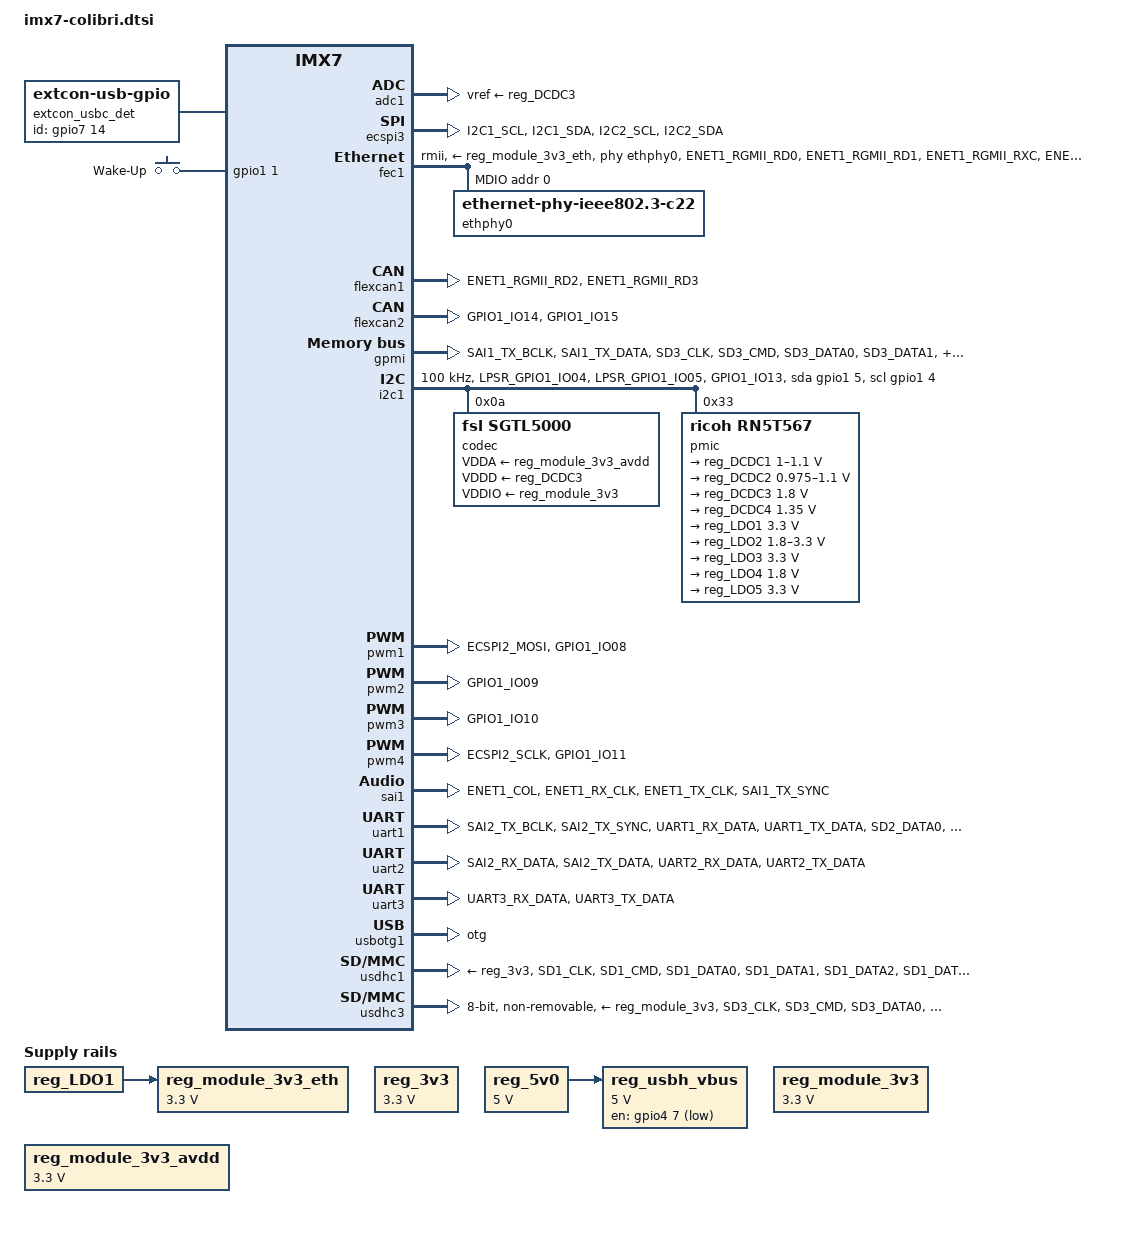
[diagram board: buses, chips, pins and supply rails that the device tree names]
// SPDX-License-Identifier: GPL-2.0-or-later OR MIT
/*
 * Copyright 2016-2022 Toradex
 */

#include <dt-bindings/pwm/pwm.h>

/ {
	aliases {
		rtc0 = &rtc;
		rtc1 = &snvs_rtc;
	};

	backlight: backlight {
		brightness-levels = <0 45 63 88 119 158 203 255>;
		compatible = "pwm-backlight";
		default-brightness-level = <4>;
		enable-gpios = <&gpio5 1 GPIO_ACTIVE_HIGH>;
		pinctrl-names = "default";
		pinctrl-0 = <&pinctrl_gpio_bl_on>;
		power-supply = <&reg_module_3v3>;
		pwms = <&pwm1 0 6666667 PWM_POLARITY_INVERTED>;
		status = "disabled";
	};

	chosen {
		stdout-path = "serial0:115200n8";
	};

	extcon_usbc_det: usbc-det {
		compatible = "linux,extcon-usb-gpio";
		debounce = <25>;
		id-gpio = <&gpio7 14 GPIO_ACTIVE_HIGH>; /* SODIMM 137 / USBC_DET */
		pinctrl-names = "default";
		pinctrl-0 = <&pinctrl_usbc_det>;
	};

	gpio-keys {
		compatible = "gpio-keys";
		pinctrl-names = "default";
		pinctrl-0 = <&pinctrl_gpiokeys>;

		wakeup {
			debounce-interval = <10>;
			gpios = <&gpio1 1 (GPIO_ACTIVE_HIGH | GPIO_PULL_DOWN)>; /* SODIMM 45 */
			label = "Wake-Up";
			linux,code = <KEY_WAKEUP>;
			wakeup-source;
		};
	};

	panel_dpi: panel-dpi {
		backlight = <&backlight>;
		compatible = "edt,et057090dhu";
		power-supply = <&reg_3v3>;
		status = "disabled";

		port {
			lcd_panel_in: endpoint {
				remote-endpoint = <&lcdif_out>;
			};
		};
	};

	reg_3v3: regulator-3v3 {
		compatible = "regulator-fixed";
		regulator-always-on;
		regulator-max-microvolt = <3300000>;
		regulator-min-microvolt = <3300000>;
		regulator-name = "3.3V";
	};

	reg_5v0: regulator-5v0 {
		compatible = "regulator-fixed";
		regulator-always-on;
		regulator-max-microvolt = <5000000>;
		regulator-min-microvolt = <5000000>;
		regulator-name = "5V";
	};

	reg_module_3v3: regulator-module-3v3 {
		compatible = "regulator-fixed";
		regulator-always-on;
		regulator-max-microvolt = <3300000>;
		regulator-min-microvolt = <3300000>;
		regulator-name = "+V3.3";
	};

	reg_module_3v3_avdd: regulator-module-3v3-avdd {
		compatible = "regulator-fixed";
		regulator-always-on;
		regulator-max-microvolt = <3300000>;
		regulator-min-microvolt = <3300000>;
		regulator-name = "+V3.3_AVDD_AUDIO";
	};

	reg_module_3v3_eth: regulator-module-3v3-eth {
		compatible = "regulator-fixed";
		off-on-delay-us = <200000>;
		regulator-name = "+V3.3_ETH";
		regulator-min-microvolt = <3300000>;
		regulator-max-microvolt = <3300000>;
		regulator-boot-on;
		startup-delay-us = <200000>;
		vin-supply = <&reg_LDO1>;
	};

	reg_usbh_vbus: regulator-usbh-vbus {
		compatible = "regulator-fixed";
		gpio = <&gpio4 7 GPIO_ACTIVE_LOW>; /* SODIMM 129 / USBH_PEN */
		pinctrl-names = "default";
		pinctrl-0 = <&pinctrl_usbh_reg>;
		regulator-max-microvolt = <5000000>;
		regulator-min-microvolt = <5000000>;
		regulator-name = "VCC_USB[1-4]";
		vin-supply = <&reg_5v0>;
	};

	sound {
		compatible = "simple-audio-card";
		simple-audio-card,bitclock-master = <&dailink_master>;
		simple-audio-card,format = "i2s";
		simple-audio-card,frame-master = <&dailink_master>;
		simple-audio-card,name = "imx7-sgtl5000";

		simple-audio-card,cpu {
			sound-dai = <&sai1>;
		};

		dailink_master: simple-audio-card,codec {
			clocks = <&clks IMX7D_AUDIO_MCLK_ROOT_DIV>;
			sound-dai = <&codec>;
		};
	};
};

/* Colibri AD0 to AD3 */
&adc1 {
	vref-supply = <&reg_DCDC3>;
};

/* ADC2 is not available as it conflicts with AD7879 resistive touchscreen. */

&cpu0 {
	cpu-supply = <&reg_DCDC2>;
};

/* Colibri SSP */
&ecspi3 {
	cs-gpios = <&gpio4 11 GPIO_ACTIVE_LOW>; /* SODIMM 86 / SSPFRM */
	pinctrl-names = "default";
	pinctrl-0 = <&pinctrl_ecspi3 &pinctrl_ecspi3_cs>;
};

/* Colibri Fast Ethernet */
&fec1 {
	assigned-clock-parents = <&clks IMX7D_PLL_ENET_MAIN_100M_CLK>;
	assigned-clock-rates = <0>, <100000000>;
	assigned-clocks = <&clks IMX7D_ENET1_TIME_ROOT_SRC>,
			  <&clks IMX7D_ENET1_TIME_ROOT_CLK>;
	clock-names = "ipg", "ahb", "ptp", "enet_clk_ref";
	clocks = <&clks IMX7D_ENET_AXI_ROOT_CLK>,
		 <&clks IMX7D_ENET_AXI_ROOT_CLK>,
		 <&clks IMX7D_ENET1_TIME_ROOT_CLK>,
		 <&clks IMX7D_PLL_ENET_MAIN_50M_CLK>;
	fsl,magic-packet;
	phy-handle = <&ethphy0>;
	phy-mode = "rmii";
	phy-supply = <&reg_module_3v3_eth>;
	pinctrl-names = "default", "sleep";
	pinctrl-0 = <&pinctrl_enet1>;
	pinctrl-1 = <&pinctrl_enet1_sleep>;

	mdio {
		#address-cells = <1>;
		#size-cells = <0>;

		/* Micrel KSZ8041RNL */
		ethphy0: ethernet-phy@0 {
			compatible = "ethernet-phy-ieee802.3-c22";
			max-speed = <100>;
			micrel,led-mode = <0>;
			reg = <0>;
		};
	};
};

&flexcan1 {
	pinctrl-names = "default";
	pinctrl-0 = <&pinctrl_flexcan1>;
};

&flexcan2 {
	pinctrl-names = "default";
	pinctrl-0 = <&pinctrl_flexcan2>;
};

&gpio1 {
	gpio-line-names = "SODIMM_43",
			  "SODIMM_45",
			  "SODIMM_135",
			  "SODIMM_22",
			  "",
			  "",
			  "SODIMM_37",
			  "SODIMM_29",
			  "SODIMM_59",
			  "SODIMM_28",
			  "SODIMM_30",
			  "SODIMM_67",
			  "",
			  "",
			  "SODIMM_188",
			  "SODIMM_178";
};

&gpio2 {
	gpio-line-names = "SODIMM_111",
			  "SODIMM_113",
			  "SODIMM_115",
			  "SODIMM_117",
			  "SODIMM_119",
			  "SODIMM_121",
			  "SODIMM_123",
			  "SODIMM_125",
			  "SODIMM_91",
			  "SODIMM_89",
			  "SODIMM_105",
			  "SODIMM_152",
			  "SODIMM_150",
			  "SODIMM_95",
			  "SODIMM_126",
			  "SODIMM_107",
			  "SODIMM_114",
			  "SODIMM_116",
			  "SODIMM_118",
			  "SODIMM_120",
			  "SODIMM_122",
			  "SODIMM_124",
			  "SODIMM_127",
			  "SODIMM_130",
			  "SODIMM_132",
			  "SODIMM_134",
			  "SODIMM_133",
			  "SODIMM_104",
			  "SODIMM_106",
			  "SODIMM_110",
			  "SODIMM_112",
			  "SODIMM_128";
};

&gpio3 {
	gpio-line-names = "SODIMM_56",
			  "SODIMM_44",
			  "SODIMM_68",
			  "SODIMM_82",
			  "SODIMM_93",
			  "SODIMM_76",
			  "SODIMM_70",
			  "SODIMM_60",
			  "SODIMM_58",
			  "SODIMM_78",
			  "SODIMM_72",
			  "SODIMM_80",
			  "SODIMM_46",
			  "SODIMM_62",
			  "SODIMM_48",
			  "SODIMM_74",
			  "SODIMM_50",
			  "SODIMM_52",
			  "SODIMM_54",
			  "SODIMM_66",
			  "SODIMM_64",
			  "SODIMM_57",
			  "SODIMM_61",
			  "SODIMM_136",
			  "SODIMM_138",
			  "SODIMM_140",
			  "SODIMM_142",
			  "SODIMM_144",
			  "SODIMM_146";
};

&gpio4 {
	gpio-line-names = "SODIMM_35",
			  "SODIMM_33",
			  "SODIMM_38",
			  "SODIMM_36",
			  "SODIMM_21",
			  "SODIMM_19",
			  "SODIMM_131",
			  "SODIMM_129",
			  "SODIMM_90",
			  "SODIMM_92",
			  "SODIMM_88",
			  "SODIMM_86",
			  "SODIMM_81",
			  "SODIMM_94",
			  "SODIMM_96",
			  "SODIMM_75",
			  "SODIMM_101",
			  "SODIMM_103",
			  "SODIMM_79",
			  "SODIMM_97",
			  "SODIMM_67",
			  "SODIMM_59",
			  "SODIMM_85",
			  "SODIMM_65";
};

&gpio5 {
	gpio-line-names = "SODIMM_69",
			  "SODIMM_71",
			  "SODIMM_73",
			  "SODIMM_47",
			  "SODIMM_190",
			  "SODIMM_192",
			  "SODIMM_49",
			  "SODIMM_51",
			  "SODIMM_53",
			  "",
			  "",
			  "SODIMM_98",
			  "SODIMM_184",
			  "SODIMM_186",
			  "SODIMM_23",
			  "SODIMM_31",
			  "SODIMM_100",
			  "SODIMM_102";
};

&gpio6 {
	gpio-line-names = "",
			  "",
			  "",
			  "",
			  "",
			  "",
			  "",
			  "",
			  "",
			  "",
			  "",
			  "",
			  "SODIMM_169",
			  "",
			  "",
			  "",
			  "SODIMM_77",
			  "SODIMM_24",
			  "",
			  "SODIMM_25",
			  "SODIMM_27",
			  "SODIMM_32",
			  "SODIMM_34";
};

&gpio7 {
	gpio-line-names = "",
			  "",
			  "SODIMM_63",
			  "SODIMM_55",
			  "",
			  "",
			  "",
			  "",
			  "SODIMM_196",
			  "SODIMM_194",
			  "",
			  "SODIMM_99",
			  "",
			  "",
			  "SODIMM_137";
};

/* NAND on such SKUs */
&gpmi {
	fsl,use-minimum-ecc;
	nand-ecc-mode = "hw";
	nand-on-flash-bbt;
	pinctrl-names = "default";
	pinctrl-0 = <&pinctrl_gpmi_nand>;
};

/* On-module Power I2C */
&i2c1 {
	clock-frequency = <100000>;
	pinctrl-names = "default", "gpio";
	pinctrl-0 = <&pinctrl_i2c1 &pinctrl_i2c1_int>;
	pinctrl-1 = <&pinctrl_i2c1_recovery &pinctrl_i2c1_int>;
	scl-gpios = <&gpio1 4 (GPIO_ACTIVE_HIGH | GPIO_OPEN_DRAIN)>;
	sda-gpios = <&gpio1 5 (GPIO_ACTIVE_HIGH | GPIO_OPEN_DRAIN)>;
	status = "okay";

	codec: sgtl5000@a {
		#sound-dai-cells = <0>;
		clocks = <&clks IMX7D_AUDIO_MCLK_ROOT_DIV>;
		compatible = "fsl,sgtl5000";
		pinctrl-names = "default";
		pinctrl-0 = <&pinctrl_sai1_mclk>;
		reg = <0xa>;
		VDDA-supply = <&reg_module_3v3_avdd>;
		VDDD-supply = <&reg_DCDC3>;
		VDDIO-supply = <&reg_module_3v3>;
	};

	ad7879_ts: touchscreen@2c {
		adi,acquisition-time = /bits/ 8 <1>;
		adi,averaging = /bits/ 8 <1>;
		adi,conversion-interval = /bits/ 8 <255>;
		adi,first-conversion-delay = /bits/ 8 <3>;
		adi,median-filter-size = /bits/ 8 <2>;
		adi,resistance-plate-x = <120>;
		compatible = "adi,ad7879-1";
		interrupt-parent = <&gpio1>;
		interrupts = <13 IRQ_TYPE_EDGE_FALLING>;
		reg = <0x2c>;
		touchscreen-max-pressure = <4096>;
		status = "disabled";
	};

	pmic@33 {
		compatible = "ricoh,rn5t567";
		reg = <0x33>;

		regulators {
			reg_DCDC1: DCDC1 {
				regulator-always-on;
				regulator-boot-on;
				regulator-max-microvolt = <1100000>;
				regulator-min-microvolt = <1000000>;
				regulator-name = "+V1.0_SOC";
			};

			reg_DCDC2: DCDC2 {
				regulator-always-on;
				regulator-boot-on;
				regulator-max-microvolt = <1100000>;
				regulator-min-microvolt = <975000>;
				regulator-name = "+V1.1_ARM";
			};

			reg_DCDC3: DCDC3 {
				regulator-always-on;
				regulator-boot-on;
				regulator-max-microvolt = <1800000>;
				regulator-min-microvolt = <1800000>;
				regulator-name = "+V1.8";
			};

			reg_DCDC4: DCDC4 {
				regulator-always-on;
				regulator-boot-on;
				regulator-max-microvolt = <1350000>;
				regulator-min-microvolt = <1350000>;
				regulator-name = "+V1.35_DRAM";
			};

			reg_LDO1: LDO1 {
				regulator-boot-on;
				regulator-max-microvolt = <3300000>;
				regulator-min-microvolt = <3300000>;
				regulator-name = "PWR_EN_+V3.3_ETH";
			};

			reg_LDO2: LDO2 {
				regulator-always-on;
				regulator-boot-on;
				regulator-max-microvolt = <3300000>;
				regulator-min-microvolt = <1800000>;
				regulator-name = "+V1.8_SD";
			};

			reg_LDO3: LDO3 {
				regulator-always-on;
				regulator-boot-on;
				regulator-max-microvolt = <3300000>;
				regulator-min-microvolt = <3300000>;
				regulator-name = "PWR_EN_+V3.3_LPSR";
			};

			reg_LDO4: LDO4 {
				regulator-always-on;
				regulator-boot-on;
				regulator-max-microvolt = <1800000>;
				regulator-min-microvolt = <1800000>;
				regulator-name = "+V1.8_LPSR";
			};

			reg_LDO5: LDO5 {
				regulator-always-on;
				regulator-boot-on;
				regulator-max-microvolt = <3300000>;
				regulator-min-microvolt = <3300000>;
				regulator-name = "PWR_EN_+V3.3";
			};
		};
	};
};

/* Colibri I2C: I2C3_SDA/SCL on SODIMM 194/196 */
&i2c4 {
	clock-frequency = <100000>;
	pinctrl-names = "default", "gpio";
	pinctrl-0 = <&pinctrl_i2c4>;
	pinctrl-1 = <&pinctrl_i2c4_recovery>;
	scl-gpios = <&gpio7 8 (GPIO_ACTIVE_HIGH | GPIO_OPEN_DRAIN)>;
	sda-gpios = <&gpio7 9 (GPIO_ACTIVE_HIGH | GPIO_OPEN_DRAIN)>;
	status = "disabled";

	/* Atmel maxtouch controller */
	atmel_mxt_ts: touchscreen@4a {
		compatible = "atmel,maxtouch";
		interrupt-parent = <&gpio2>;
		interrupts = <15 IRQ_TYPE_EDGE_FALLING>;        /* SODIMM 107 / INT */
		pinctrl-names = "default";
		pinctrl-0 = <&pinctrl_atmel_connector>;
		reg = <0x4a>;
		reset-gpios = <&gpio2 28 GPIO_ACTIVE_LOW>;      /* SODIMM 106 / RST */
		status = "disabled";
	};

	/* M41T0M6 real time clock on carrier board */
	rtc: rtc@68 {
		compatible = "st,m41t0";
		reg = <0x68>;
		status = "disabled";
	};
};

&lcdif {
	assigned-clocks = <&clks IMX7D_LCDIF_PIXEL_ROOT_SRC>;
	assigned-clock-parents = <&clks IMX7D_PLL_VIDEO_POST_DIV>;
	pinctrl-names = "default";
	pinctrl-0 = <&pinctrl_lcdif_dat
		     &pinctrl_lcdif_ctrl>;
	status = "disabled";

	port {
		lcdif_out: endpoint {
			remote-endpoint = <&lcd_panel_in>;
		};
	};
};

/* Colibri PWM<A> */
&pwm1 {
	pinctrl-names = "default";
	pinctrl-0 = <&pinctrl_pwm1>;
};

/* Colibri PWM<B> */
&pwm2 {
	pinctrl-names = "default";
	pinctrl-0 = <&pinctrl_pwm2>;
};

/* Colibri PWM<C> */
&pwm3 {
	pinctrl-names = "default";
	pinctrl-0 = <&pinctrl_pwm3>;
};

/* Colibri PWM<D> */
&pwm4 {
	pinctrl-names = "default";
	pinctrl-0 = <&pinctrl_pwm4>;
};

&reg_1p0d {
	vin-supply = <&reg_DCDC3>; /* VDDA_1P8_IN */
};

&sai1 {
	pinctrl-names = "default";
	pinctrl-0 = <&pinctrl_sai1>;
	status = "okay";
};

/* Colibri UART_A */
&uart1 {
	assigned-clocks = <&clks IMX7D_UART1_ROOT_SRC>;
	assigned-clock-parents = <&clks IMX7D_OSC_24M_CLK>;
	fsl,dte-mode;
	pinctrl-names = "default";
	pinctrl-0 = <&pinctrl_uart1 &pinctrl_uart1_ctrl1 &pinctrl_uart1_ctrl2>;
	uart-has-rtscts;
};

/* Colibri UART_B */
&uart2 {
	assigned-clocks = <&clks IMX7D_UART2_ROOT_SRC>;
	assigned-clock-parents = <&clks IMX7D_OSC_24M_CLK>;
	fsl,dte-mode;
	pinctrl-names = "default";
	pinctrl-0 = <&pinctrl_uart2>;
	uart-has-rtscts;
};

/* Colibri UART_C */
&uart3 {
	assigned-clocks = <&clks IMX7D_UART3_ROOT_SRC>;
	assigned-clock-parents = <&clks IMX7D_OSC_24M_CLK>;
	fsl,dte-mode;
	pinctrl-names = "default";
	pinctrl-0 = <&pinctrl_uart3>;
};

/* Colibri USBC */
&usbotg1 {
	dr_mode = "otg";
	extcon = <0>, <&extcon_usbc_det>;
};

/* Colibri MMC/SD */
&usdhc1 {
	cd-gpios = <&gpio1 0 GPIO_ACTIVE_LOW>;
	disable-wp;
	no-1-8-v;
	pinctrl-names = "default", "state_100mhz", "state_200mhz", "sleep";
	pinctrl-0 = <&pinctrl_usdhc1 &pinctrl_cd_usdhc1>;
	pinctrl-1 = <&pinctrl_usdhc1_100mhz &pinctrl_cd_usdhc1>;
	pinctrl-2 = <&pinctrl_usdhc1_200mhz &pinctrl_cd_usdhc1>;
	pinctrl-3 = <&pinctrl_usdhc1_sleep &pinctrl_cd_usdhc1_sleep>;
	vmmc-supply = <&reg_3v3>;
	vqmmc-supply = <&reg_LDO2>;
	wakeup-source;
};

/* eMMC on 1GB (eMMC) SKUs */
&usdhc3 {
	assigned-clocks = <&clks IMX7D_USDHC3_ROOT_CLK>;
	assigned-clock-rates = <400000000>;
	bus-width = <8>;
	fsl,tuning-step = <2>;
	non-removable;
	pinctrl-names = "default", "state_100mhz", "state_200mhz";
	pinctrl-0 = <&pinctrl_usdhc3>;
	pinctrl-1 = <&pinctrl_usdhc3_100mhz>;
	pinctrl-2 = <&pinctrl_usdhc3_200mhz>;
	sdhci-caps-mask = <0x80000000 0x0>;
	vmmc-supply = <&reg_module_3v3>;
	vqmmc-supply = <&reg_DCDC3>;
};

&iomuxc {
	pinctrl-names = "default";
	pinctrl-0 = <&pinctrl_gpio1 &pinctrl_gpio2 &pinctrl_gpio3 &pinctrl_gpio4>;

	/*
	 * Atmel MXT touchsceen + Capacitive Touch Adapter
	 * NOTE: This pin group conflicts with pin groups pinctrl_pwm2/pinctrl_pwm3.
	 * Don't use them simultaneously.
	 */
	pinctrl_atmel_adapter: atmelconnectorgrp {
		fsl,pins = <
			MX7D_PAD_GPIO1_IO09__GPIO1_IO9		0x74 /* SODIMM 28 / INT */
			MX7D_PAD_GPIO1_IO10__GPIO1_IO10		0x14 /* SODIMM 30 / RST */
		>;
	};

	/* Atmel MXT touchsceen + boards with built-in Capacitive Touch Connector */
	pinctrl_atmel_connector: atmeladaptergrp {
		fsl,pins = <
			MX7D_PAD_EPDC_BDR0__GPIO2_IO28		0x14 /* SODIMM 106 / RST */
			MX7D_PAD_EPDC_DATA15__GPIO2_IO15	0x74 /* SODIMM 107 / INT */
		>;
	};

	pinctrl_can_int: canintgrp {
		fsl,pins = <
			MX7D_PAD_SD1_RESET_B__GPIO5_IO2		0X14 /* SODIMM 73 */
		>;
	};

	pinctrl_ecspi3: ecspi3grp {
		fsl,pins = <
			MX7D_PAD_I2C1_SCL__ECSPI3_MISO		0x2 /* SODIMM 90 */
			MX7D_PAD_I2C1_SDA__ECSPI3_MOSI		0x2 /* SODIMM 92 */
			MX7D_PAD_I2C2_SCL__ECSPI3_SCLK		0x2 /* SODIMM 88 */
		>;
	};

	pinctrl_ecspi3_cs: ecspi3csgrp {
		fsl,pins = <
			MX7D_PAD_I2C2_SDA__GPIO4_IO11		0x14 /* SODIMM 86 */
		>;
	};

	pinctrl_enet1: enet1grp {
		fsl,pins = <
			MX7D_PAD_ENET1_RGMII_RD0__ENET1_RGMII_RD0	0x73
			MX7D_PAD_ENET1_RGMII_RD1__ENET1_RGMII_RD1	0x73
			MX7D_PAD_ENET1_RGMII_RXC__ENET1_RX_ER		0x73
			MX7D_PAD_ENET1_RGMII_RX_CTL__ENET1_RGMII_RX_CTL	0x73
			MX7D_PAD_ENET1_RGMII_TD0__ENET1_RGMII_TD0	0x73
			MX7D_PAD_ENET1_RGMII_TD1__ENET1_RGMII_TD1	0x73
			MX7D_PAD_ENET1_RGMII_TX_CTL__ENET1_RGMII_TX_CTL	0x73
			MX7D_PAD_GPIO1_IO12__CCM_ENET_REF_CLK1		0x73
			MX7D_PAD_SD2_CD_B__ENET1_MDIO			0x3
			MX7D_PAD_SD2_WP__ENET1_MDC			0x3
		>;
	};

	pinctrl_enet1_sleep: enet1-sleepgrp {
		fsl,pins = <
			MX7D_PAD_ENET1_RGMII_RD0__GPIO7_IO0		0x0
			MX7D_PAD_ENET1_RGMII_RD1__GPIO7_IO1		0x0
			MX7D_PAD_ENET1_RGMII_RXC__GPIO7_IO5		0x0
			MX7D_PAD_ENET1_RGMII_RX_CTL__GPIO7_IO4		0x0
			MX7D_PAD_ENET1_RGMII_TD0__GPIO7_IO6		0x0
			MX7D_PAD_ENET1_RGMII_TD1__GPIO7_IO7		0x0
			MX7D_PAD_ENET1_RGMII_TX_CTL__GPIO7_IO10		0x0
			MX7D_PAD_GPIO1_IO12__GPIO1_IO12			0x0
			MX7D_PAD_SD2_CD_B__GPIO5_IO9			0x0
			MX7D_PAD_SD2_WP__GPIO5_IO10			0x0
		>;
	};

	pinctrl_flexcan1: flexcan1grp {
		fsl,pins = <
			MX7D_PAD_ENET1_RGMII_RD2__FLEXCAN1_RX	0x79 /* SODIMM 63 */
			MX7D_PAD_ENET1_RGMII_RD3__FLEXCAN1_TX	0x79 /* SODIMM 55 */
		>;
	};

	pinctrl_flexcan2: flexcan2grp {
		fsl,pins = <
			MX7D_PAD_GPIO1_IO14__FLEXCAN2_RX	0x79 /* SODIMM 188 */
			MX7D_PAD_GPIO1_IO15__FLEXCAN2_TX	0x79 /* SODIMM 178 */
		>;
	};

	pinctrl_gpio1: gpio1grp {
		fsl,pins = <
			MX7D_PAD_EPDC_BDR1__GPIO2_IO29		0x14 /* SODIMM 110 */
			MX7D_PAD_EPDC_DATA00__GPIO2_IO0		0x14 /* SODIMM 111 */
			MX7D_PAD_EPDC_DATA01__GPIO2_IO1		0x14 /* SODIMM 113 */
			MX7D_PAD_EPDC_DATA02__GPIO2_IO2		0x14 /* SODIMM 115 */
			MX7D_PAD_EPDC_DATA03__GPIO2_IO3		0x14 /* SODIMM 117 */
			MX7D_PAD_EPDC_DATA04__GPIO2_IO4		0x14 /* SODIMM 119 */
			MX7D_PAD_EPDC_DATA05__GPIO2_IO5		0x14 /* SODIMM 121 */
			MX7D_PAD_EPDC_DATA06__GPIO2_IO6		0x14 /* SODIMM 123 */
			MX7D_PAD_EPDC_DATA07__GPIO2_IO7		0x14 /* SODIMM 125 */
			MX7D_PAD_EPDC_DATA08__GPIO2_IO8		0x74 /* SODIMM 91 */
			MX7D_PAD_EPDC_DATA09__GPIO2_IO9		0x14 /* SODIMM 89 */
			MX7D_PAD_EPDC_DATA10__GPIO2_IO10	0x74 /* SODIMM 105 */
			MX7D_PAD_EPDC_DATA11__GPIO2_IO11	0x14 /* SODIMM 152 */
			MX7D_PAD_EPDC_DATA12__GPIO2_IO12	0x14 /* SODIMM 150 */
			MX7D_PAD_EPDC_DATA14__GPIO2_IO14	0x14 /* SODIMM 126 */
			MX7D_PAD_EPDC_GDCLK__GPIO2_IO24		0x14 /* SODIMM 132 */
			MX7D_PAD_EPDC_GDOE__GPIO2_IO25		0x14 /* SODIMM 134 */
			MX7D_PAD_EPDC_GDRL__GPIO2_IO26		0x14 /* SODIMM 133 */
			MX7D_PAD_EPDC_GDSP__GPIO2_IO27		0x14 /* SODIMM 104 */
			MX7D_PAD_EPDC_PWR_COM__GPIO2_IO30	0x14 /* SODIMM 112 */
			MX7D_PAD_EPDC_PWR_STAT__GPIO2_IO31	0x14 /* SODIMM 128 */
			MX7D_PAD_EPDC_SDCE0__GPIO2_IO20		0x14 /* SODIMM 122 */
			MX7D_PAD_EPDC_SDCE1__GPIO2_IO21		0x14 /* SODIMM 124 */
			MX7D_PAD_EPDC_SDCE2__GPIO2_IO22		0x14 /* SODIMM 127 */
			MX7D_PAD_EPDC_SDCE3__GPIO2_IO23		0x14 /* SODIMM 130 */
			MX7D_PAD_EPDC_SDCLK__GPIO2_IO16		0x14 /* SODIMM 114 */
			MX7D_PAD_EPDC_SDLE__GPIO2_IO17		0x14 /* SODIMM 116 */
			MX7D_PAD_EPDC_SDOE__GPIO2_IO18		0x14 /* SODIMM 118 */
			MX7D_PAD_EPDC_SDSHR__GPIO2_IO19		0x14 /* SODIMM 120 */
			MX7D_PAD_LCD_RESET__GPIO3_IO4		0x14 /* SODIMM 93 */
			MX7D_PAD_SAI1_RX_BCLK__GPIO6_IO17	0x14 /* SODIMM 24 */
			MX7D_PAD_SAI1_RX_DATA__GPIO6_IO12	0x14 /* SODIMM 169 */
			MX7D_PAD_SAI1_RX_SYNC__GPIO6_IO16	0x14 /* SODIMM 77 */
			MX7D_PAD_SD2_CLK__GPIO5_IO12		0x14 /* SODIMM 184 */
			MX7D_PAD_SD2_CMD__GPIO5_IO13		0x14 /* SODIMM 186 */
			MX7D_PAD_SD2_DATA2__GPIO5_IO16		0x14 /* SODIMM 100 */
			MX7D_PAD_SD2_DATA3__GPIO5_IO17		0x14 /* SODIMM 102 */
			MX7D_PAD_UART3_RTS_B__GPIO4_IO6		0x14 /* SODIMM 131 */
		>;
	};

	pinctrl_gpio2: gpio2grp { /* On X22 Camera interface */
		fsl,pins = <
			MX7D_PAD_ECSPI1_MISO__GPIO4_IO18	0x14 /* SODIMM 79 */
			MX7D_PAD_ECSPI1_MOSI__GPIO4_IO17	0x14 /* SODIMM 103 */
			MX7D_PAD_ECSPI1_SCLK__GPIO4_IO16	0x14 /* SODIMM 101 */
			MX7D_PAD_ECSPI1_SS0__GPIO4_IO19		0x14 /* SODIMM 97 */
			MX7D_PAD_ECSPI2_MISO__GPIO4_IO22	0x14 /* SODIMM 85 */
			MX7D_PAD_ECSPI2_SS0__GPIO4_IO23		0x14 /* SODIMM 65 */
			MX7D_PAD_I2C3_SCL__GPIO4_IO12		0x14 /* SODIMM 81 */
			MX7D_PAD_I2C3_SDA__GPIO4_IO13		0x14 /* SODIMM 94 */
			MX7D_PAD_I2C4_SCL__GPIO4_IO14		0x14 /* SODIMM 96 */
			MX7D_PAD_I2C4_SDA__GPIO4_IO15		0x14 /* SODIMM 75 */
			MX7D_PAD_SD1_CD_B__GPIO5_IO0		0x74 /* SODIMM 69 */
			MX7D_PAD_SD2_RESET_B__GPIO5_IO11	0x14 /* SODIMM 98 */
		>;
	};

	pinctrl_gpio3: gpio3grp { /* LCD 18-23 */
		fsl,pins = <
			MX7D_PAD_LCD_DATA18__GPIO3_IO23		0x14 /* SODIMM 136 */
			MX7D_PAD_LCD_DATA19__GPIO3_IO24		0x14 /* SODIMM 138 */
			MX7D_PAD_LCD_DATA20__GPIO3_IO25		0x14 /* SODIMM 140 */
			MX7D_PAD_LCD_DATA21__GPIO3_IO26		0x14 /* SODIMM 142 */
			MX7D_PAD_LCD_DATA22__GPIO3_IO27		0x74 /* SODIMM 144 */
			MX7D_PAD_LCD_DATA23__GPIO3_IO28		0x74 /* SODIMM 146 */
		>;
	};

	pinctrl_gpio4: gpio4grp { /* Alternatively CAN2 */
		fsl,pins = <
			MX7D_PAD_GPIO1_IO14__GPIO1_IO14		0x14 /* SODIMM 188 */
			MX7D_PAD_GPIO1_IO15__GPIO1_IO15		0x14 /* SODIMM 178 */
		>;
	};

	pinctrl_gpio7: gpio7grp { /* Alternatively CAN1 */
		fsl,pins = <
			MX7D_PAD_ENET1_RGMII_RD2__GPIO7_IO2	0x14 /* SODIMM 63 */
			MX7D_PAD_ENET1_RGMII_RD3__GPIO7_IO3	0x14 /* SODIMM 55 */
		>;
	};

	pinctrl_gpio_bl_on: gpioblongrp {
		fsl,pins = <
			MX7D_PAD_SD1_WP__GPIO5_IO1		0x14 /* SODIMM 71 */
		>;
	};

	pinctrl_gpmi_nand: gpminandgrp {
		fsl,pins = <
			MX7D_PAD_SAI1_TX_BCLK__NAND_CE0_B	0x71
			MX7D_PAD_SAI1_TX_DATA__NAND_READY_B	0x74
			MX7D_PAD_SD3_CLK__NAND_CLE		0x71
			MX7D_PAD_SD3_CMD__NAND_ALE		0x71
			MX7D_PAD_SD3_DATA0__NAND_DATA00		0x71
			MX7D_PAD_SD3_DATA1__NAND_DATA01		0x71
			MX7D_PAD_SD3_DATA2__NAND_DATA02		0x71
			MX7D_PAD_SD3_DATA3__NAND_DATA03		0x71
			MX7D_PAD_SD3_DATA4__NAND_DATA04		0x71
			MX7D_PAD_SD3_DATA5__NAND_DATA05		0x71
			MX7D_PAD_SD3_DATA6__NAND_DATA06		0x71
			MX7D_PAD_SD3_DATA7__NAND_DATA07		0x71
			MX7D_PAD_SD3_RESET_B__NAND_WE_B		0x71
			MX7D_PAD_SD3_STROBE__NAND_RE_B		0x71
		>;
	};

	pinctrl_i2c1_int: i2c1intgrp { /* PMIC / TOUCH */
		fsl,pins = <
			MX7D_PAD_GPIO1_IO13__GPIO1_IO13	0x79
		>;
	};

	pinctrl_i2c4: i2c4grp {
		fsl,pins = <
			MX7D_PAD_ENET1_RGMII_TD2__I2C4_SCL	0x4000007f /* SODIMM 196 */
			MX7D_PAD_ENET1_RGMII_TD3__I2C4_SDA	0x4000007f /* SODIMM 194 */
		>;
	};

	pinctrl_i2c4_recovery: i2c4-recoverygrp {
		fsl,pins = <
			MX7D_PAD_ENET1_RGMII_TD2__GPIO7_IO8	0x4000007f
			MX7D_PAD_ENET1_RGMII_TD3__GPIO7_IO9	0x4000007f
		>;
	};

	pinctrl_lcdif_dat: lcdifdatgrp {
		fsl,pins = <
			MX7D_PAD_LCD_DATA00__LCD_DATA0		0x79 /* SODIMM 76 */
			MX7D_PAD_LCD_DATA01__LCD_DATA1		0x79 /* SODIMM 70 */
			MX7D_PAD_LCD_DATA02__LCD_DATA2		0x79 /* SODIMM 60 */
			MX7D_PAD_LCD_DATA03__LCD_DATA3		0x79 /* SODIMM 58 */
			MX7D_PAD_LCD_DATA04__LCD_DATA4		0x79 /* SODIMM 78 */
			MX7D_PAD_LCD_DATA05__LCD_DATA5		0x79 /* SODIMM 72 */
			MX7D_PAD_LCD_DATA06__LCD_DATA6		0x79 /* SODIMM 80 */
			MX7D_PAD_LCD_DATA07__LCD_DATA7		0x79 /* SODIMM 46 */
			MX7D_PAD_LCD_DATA08__LCD_DATA8		0x79 /* SODIMM 62 */
			MX7D_PAD_LCD_DATA09__LCD_DATA9		0x79 /* SODIMM 48 */
			MX7D_PAD_LCD_DATA10__LCD_DATA10		0x79 /* SODIMM 74 */
			MX7D_PAD_LCD_DATA11__LCD_DATA11		0x79 /* SODIMM 50 */
			MX7D_PAD_LCD_DATA12__LCD_DATA12		0x79 /* SODIMM 52 */
			MX7D_PAD_LCD_DATA13__LCD_DATA13		0x79 /* SODIMM 54 */
			MX7D_PAD_LCD_DATA14__LCD_DATA14		0x79 /* SODIMM 66 */
			MX7D_PAD_LCD_DATA15__LCD_DATA15		0x79 /* SODIMM 64 */
			MX7D_PAD_LCD_DATA16__LCD_DATA16		0x79 /* SODIMM 57 */
			MX7D_PAD_LCD_DATA17__LCD_DATA17		0x79 /* SODIMM 61 */
		>;
	};

	pinctrl_lcdif_dat_24: lcdifdat24grp {
		fsl,pins = <
			MX7D_PAD_LCD_DATA18__LCD_DATA18		0x79 /* SODIMM 136 */
			MX7D_PAD_LCD_DATA19__LCD_DATA19		0x79 /* SODIMM 138 */
			MX7D_PAD_LCD_DATA20__LCD_DATA20		0x79 /* SODIMM 140 */
			MX7D_PAD_LCD_DATA21__LCD_DATA21		0x79 /* SODIMM 142 */
			MX7D_PAD_LCD_DATA22__LCD_DATA22		0x79 /* SODIMM 144 */
			MX7D_PAD_LCD_DATA23__LCD_DATA23		0x79 /* SODIMM 146 */
		>;
	};

	pinctrl_lcdif_ctrl: lcdifctrlgrp {
		fsl,pins = <
			MX7D_PAD_LCD_CLK__LCD_CLK		0x79 /* SODIMM 56 */
			MX7D_PAD_LCD_ENABLE__LCD_ENABLE		0x79 /* SODIMM 44 */
			MX7D_PAD_LCD_HSYNC__LCD_HSYNC		0x79 /* SODIMM 68 */
			MX7D_PAD_LCD_VSYNC__LCD_VSYNC		0x79 /* SODIMM 82 */
		>;
	};

	pinctrl_lvds_transceiver: lvdstx {
		fsl,pins = <
			MX7D_PAD_ENET1_RGMII_RD2__GPIO7_IO2     0x14 /* SODIMM 63 */
			MX7D_PAD_ENET1_RGMII_RD3__GPIO7_IO3     0x74 /* SODIMM 55 */
			MX7D_PAD_ENET1_RGMII_TXC__GPIO7_IO11    0x14 /* SODIMM 99 */
			MX7D_PAD_EPDC_DATA13__GPIO2_IO13        0x14 /* SODIMM 95 */
		>;
	};

	pinctrl_pwm1: pwm1grp {
		fsl,pins = <
			MX7D_PAD_ECSPI2_MOSI__GPIO4_IO21	0x4  /* SODIMM 59 */
			MX7D_PAD_GPIO1_IO08__PWM1_OUT		0x79 /* SODIMM 59 */
		>;
	};

	pinctrl_pwm2: pwm2grp {
		fsl,pins = <
			MX7D_PAD_GPIO1_IO09__PWM2_OUT		0x79 /* SODIMM 28 */
		>;
	};

	pinctrl_pwm3: pwm3grp {
		fsl,pins = <
			MX7D_PAD_GPIO1_IO10__PWM3_OUT		0x79 /* SODIMM 30 */
		>;
	};

	pinctrl_pwm4: pwm4grp {
		fsl,pins = <
			MX7D_PAD_ECSPI2_SCLK__GPIO4_IO20	0x4  /* SODIMM 67 */
			MX7D_PAD_GPIO1_IO11__PWM4_OUT		0x79 /* SODIMM 67 */
		>;
	};

	pinctrl_uart1: uart1grp {
		fsl,pins = <
			MX7D_PAD_SAI2_TX_BCLK__UART1_DTE_CTS	0x79 /* SODIMM 25 */
			MX7D_PAD_SAI2_TX_SYNC__UART1_DTE_RTS	0x79 /* SODIMM 27 */
			MX7D_PAD_UART1_RX_DATA__UART1_DTE_TX	0x79 /* SODIMM 35 */
			MX7D_PAD_UART1_TX_DATA__UART1_DTE_RX	0x79 /* SODIMM 33 */
		>;
	};

	pinctrl_uart1_ctrl1: uart1ctrl1grp {
		fsl,pins = <
			MX7D_PAD_SD2_DATA0__GPIO5_IO14		0x14 /* SODIMM 23 / DTR */
			MX7D_PAD_SD2_DATA1__GPIO5_IO15		0x14 /* SODIMM 31 / DCD */
		>;
	};

	pinctrl_uart2: uart2grp {
		fsl,pins = <
			MX7D_PAD_SAI2_RX_DATA__UART2_DTE_RTS	0x79 /* SODIMM 32 / CTS */
			MX7D_PAD_SAI2_TX_DATA__UART2_DTE_CTS	0x79 /* SODIMM 34 / RTS */
			MX7D_PAD_UART2_RX_DATA__UART2_DTE_TX	0x79 /* SODIMM 38 */
			MX7D_PAD_UART2_TX_DATA__UART2_DTE_RX	0x79 /* SODIMM 36 */
		>;
	};
	pinctrl_uart3: uart3grp {
		fsl,pins = <
			MX7D_PAD_UART3_RX_DATA__UART3_DTE_TX	0x79 /* SODIMM 21 */
			MX7D_PAD_UART3_TX_DATA__UART3_DTE_RX	0x79 /* SODIMM 19 */
		>;
	};

	pinctrl_usbc_det: usbcdetgrp {
		fsl,pins = <
			MX7D_PAD_ENET1_CRS__GPIO7_IO14		0x14 /* SODIMM 137 / USBC_DET */
		>;
	};

	pinctrl_usbh_reg: usbhreggrp {
		fsl,pins = <
			MX7D_PAD_UART3_CTS_B__GPIO4_IO7		0x14 /* SODIMM 129 / USBH_PEN */
		>;
	};

	pinctrl_usdhc1: usdhc1grp {
		fsl,pins = <
			MX7D_PAD_SD1_CLK__SD1_CLK		0x19 /* SODIMM 47 */
			MX7D_PAD_SD1_CMD__SD1_CMD		0x59 /* SODIMM 190 */
			MX7D_PAD_SD1_DATA0__SD1_DATA0		0x59 /* SODIMM 192 */
			MX7D_PAD_SD1_DATA1__SD1_DATA1		0x59 /* SODIMM 49 */
			MX7D_PAD_SD1_DATA2__SD1_DATA2		0x59 /* SODIMM 51 */
			MX7D_PAD_SD1_DATA3__SD1_DATA3		0x59 /* SODIMM 53 */
		>;
	};

	pinctrl_usdhc1_100mhz: usdhc1-100mhzgrp {
		fsl,pins = <
			MX7D_PAD_SD1_CLK__SD1_CLK		0x1a
			MX7D_PAD_SD1_CMD__SD1_CMD		0x5a
			MX7D_PAD_SD1_DATA0__SD1_DATA0		0x5a
			MX7D_PAD_SD1_DATA1__SD1_DATA1		0x5a
			MX7D_PAD_SD1_DATA2__SD1_DATA2		0x5a
			MX7D_PAD_SD1_DATA3__SD1_DATA3		0x5a
		>;
	};

	pinctrl_usdhc1_200mhz: usdhc1-200mhzgrp {
		fsl,pins = <
			MX7D_PAD_SD1_CLK__SD1_CLK		0x1b
			MX7D_PAD_SD1_CMD__SD1_CMD		0x5b
			MX7D_PAD_SD1_DATA0__SD1_DATA0		0x5b
			MX7D_PAD_SD1_DATA1__SD1_DATA1		0x5b
			MX7D_PAD_SD1_DATA2__SD1_DATA2		0x5b
			MX7D_PAD_SD1_DATA3__SD1_DATA3		0x5b
		>;
	};

	/* Avoid backfeeding with removed card power. */
	pinctrl_usdhc1_sleep: usdhc1-slpgrp {
		fsl,pins = <
			MX7D_PAD_SD1_CMD__SD1_CMD		0x10
			MX7D_PAD_SD1_CLK__SD1_CLK		0x10
			MX7D_PAD_SD1_DATA0__SD1_DATA0		0x10
			MX7D_PAD_SD1_DATA1__SD1_DATA1		0x10
			MX7D_PAD_SD1_DATA2__SD1_DATA2		0x10
			MX7D_PAD_SD1_DATA3__SD1_DATA3		0x10
		>;
	};

	pinctrl_usdhc3: usdhc3grp {
		fsl,pins = <
			MX7D_PAD_SD3_CLK__SD3_CLK		0x19
			MX7D_PAD_SD3_CMD__SD3_CMD		0x59
			MX7D_PAD_SD3_DATA0__SD3_DATA0		0x59
			MX7D_PAD_SD3_DATA1__SD3_DATA1		0x59
			MX7D_PAD_SD3_DATA2__SD3_DATA2		0x59
			MX7D_PAD_SD3_DATA3__SD3_DATA3		0x59
			MX7D_PAD_SD3_DATA4__SD3_DATA4		0x59
			MX7D_PAD_SD3_DATA5__SD3_DATA5		0x59
			MX7D_PAD_SD3_DATA6__SD3_DATA6		0x59
			MX7D_PAD_SD3_DATA7__SD3_DATA7		0x59
			MX7D_PAD_SD3_STROBE__SD3_STROBE         0x19
		>;
	};

	pinctrl_usdhc3_100mhz: usdhc3-100mhzgrp {
		fsl,pins = <
			MX7D_PAD_SD3_CLK__SD3_CLK		0x1a
			MX7D_PAD_SD3_CMD__SD3_CMD		0x5a
			MX7D_PAD_SD3_DATA0__SD3_DATA0		0x5a
			MX7D_PAD_SD3_DATA1__SD3_DATA1		0x5a
			MX7D_PAD_SD3_DATA2__SD3_DATA2		0x5a
			MX7D_PAD_SD3_DATA3__SD3_DATA3		0x5a
			MX7D_PAD_SD3_DATA4__SD3_DATA4		0x5a
			MX7D_PAD_SD3_DATA5__SD3_DATA5		0x5a
			MX7D_PAD_SD3_DATA6__SD3_DATA6		0x5a
			MX7D_PAD_SD3_DATA7__SD3_DATA7		0x5a
			MX7D_PAD_SD3_STROBE__SD3_STROBE         0x1a
		>;
	};

	pinctrl_usdhc3_200mhz: usdhc3-200mhzgrp {
		fsl,pins = <
			MX7D_PAD_SD3_CLK__SD3_CLK		0x1b
			MX7D_PAD_SD3_CMD__SD3_CMD		0x5b
			MX7D_PAD_SD3_DATA0__SD3_DATA0		0x5b
			MX7D_PAD_SD3_DATA1__SD3_DATA1		0x5b
			MX7D_PAD_SD3_DATA2__SD3_DATA2		0x5b
			MX7D_PAD_SD3_DATA3__SD3_DATA3		0x5b
			MX7D_PAD_SD3_DATA4__SD3_DATA4		0x5b
			MX7D_PAD_SD3_DATA5__SD3_DATA5		0x5b
			MX7D_PAD_SD3_DATA6__SD3_DATA6		0x5b
			MX7D_PAD_SD3_DATA7__SD3_DATA7		0x5b
			MX7D_PAD_SD3_STROBE__SD3_STROBE         0x1b
		>;
	};

	pinctrl_sai1: sai1grp {
		fsl,pins = <
			MX7D_PAD_ENET1_COL__SAI1_TX_DATA0	0x30
			MX7D_PAD_ENET1_RX_CLK__SAI1_TX_BCLK     0x1f
			MX7D_PAD_ENET1_TX_CLK__SAI1_RX_DATA0	0x1f
			MX7D_PAD_SAI1_TX_SYNC__SAI1_TX_SYNC	0x1f
		>;
	};

	pinctrl_sai1_mclk: sai1mclkgrp {
		fsl,pins = <
			MX7D_PAD_SAI1_MCLK__SAI1_MCLK           0x1f
		>;
	};
};

&iomuxc_lpsr {
	pinctrl-names = "default";
	pinctrl-0 = <&pinctrl_gpio_lpsr>;

	pinctrl_cd_usdhc1: cdusdhc1grp {
		fsl,pins = <
			MX7D_PAD_LPSR_GPIO1_IO00__GPIO1_IO0	0x59 /* SODIMM 43 / MMC_CD */
		>;
	};

	pinctrl_cd_usdhc1_sleep: cdusdhc1-slpgrp {
		fsl,pins = <
			MX7D_PAD_LPSR_GPIO1_IO00__GPIO1_IO0	0x0
		>;
	};

	pinctrl_gpio_lpsr: gpiolpsrgrp {
		fsl,pins = <
			MX7D_PAD_LPSR_GPIO1_IO02__GPIO1_IO2	0x59 /* SODIMM 135 */
			MX7D_PAD_LPSR_GPIO1_IO03__GPIO1_IO3	0x59 /* SODIMM 22 */
		>;
	};

	pinctrl_gpiokeys: gpiokeysgrp {
		fsl,pins = <
			MX7D_PAD_LPSR_GPIO1_IO01__GPIO1_IO1	0x19 /* SODIMM 45 / WAKE_UP */
		>;
	};

	pinctrl_i2c1: i2c1grp {
		fsl,pins = <
			MX7D_PAD_LPSR_GPIO1_IO04__I2C1_SCL	0x4000007f
			MX7D_PAD_LPSR_GPIO1_IO05__I2C1_SDA	0x4000007f
		>;
	};

	pinctrl_i2c1_recovery: i2c1-recoverygrp {
		fsl,pins = <
			MX7D_PAD_LPSR_GPIO1_IO04__GPIO1_IO4	0x4000007f
			MX7D_PAD_LPSR_GPIO1_IO05__GPIO1_IO5	0x4000007f
		>;
	};

	pinctrl_uart1_ctrl2: uart1ctrl2grp {
		fsl,pins = <
			MX7D_PAD_LPSR_GPIO1_IO06__GPIO1_IO6	0x14 /* SODIMM 37 / RI */
			MX7D_PAD_LPSR_GPIO1_IO07__GPIO1_IO7	0x14 /* SODIMM 29 / DSR */
		>;
	};
};
